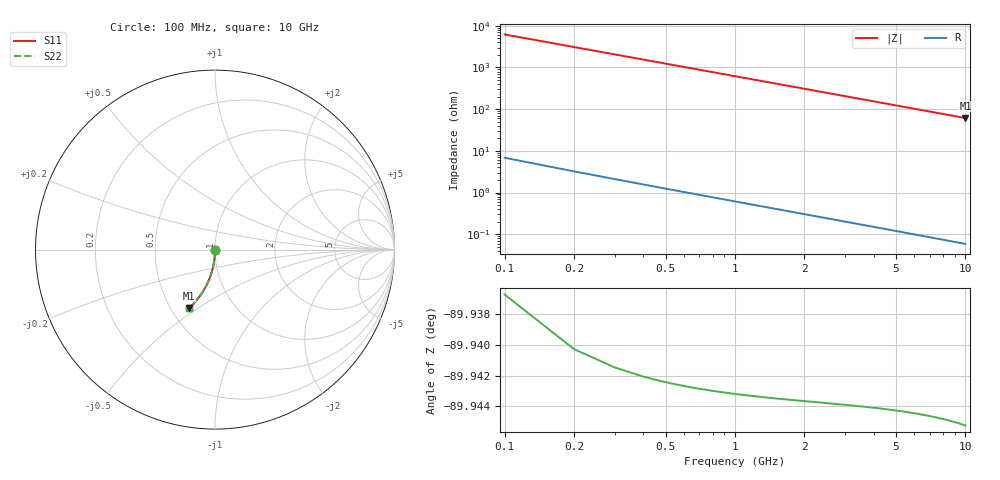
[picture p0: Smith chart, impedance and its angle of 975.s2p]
# Hz S RI R 50.00
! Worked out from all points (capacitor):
!   100 points, 100 MHz to 10 GHz, reference 50 ohm
!   read as one part in shunt: C = 257 fF near 100 MHz
!   lowest |Z| = 61.4 ohm at 10 GHz (marker M1)
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1e8  5e-05 -0.00378  0.9999 -0.0043  0.9999 -0.0043  5e-05 -0.00378
2e8  -2.2e-06 -0.00757  0.9999 -0.00859  0.9999 -0.00859  -2.2e-06 -0.00757
3e8  -8.71e-05 -0.0113  0.9998 -0.0129  0.9998 -0.0129  -8.71e-05 -0.0113
4e8  -0.000204 -0.0151  0.9996 -0.0172  0.9996 -0.0172  -0.000204 -0.0151
5e8  -0.000354 -0.0189  0.9995 -0.0215  0.9995 -0.0215  -0.000354 -0.0189
6e8  -0.000537 -0.0227  0.9993 -0.0258  0.9993 -0.0258  -0.000537 -0.0227
7e8  -0.000752 -0.0265  0.9991 -0.0301  0.9991 -0.0301  -0.000752 -0.0265
8e8  -0.000999 -0.0302  0.9988 -0.0343  0.9988 -0.0343  -0.000999 -0.0302
9e8  -0.00128 -0.034  0.9986 -0.0386  0.9986 -0.0386  -0.00128 -0.034
1.1e9  -0.00194 -0.0416  0.9979 -0.0472  0.9979 -0.0472  -0.00194 -0.0416
1.4e9  -0.00316 -0.0528  0.9967 -0.06  0.9967 -0.06  -0.00316 -0.0528
1.8e9  -0.00525 -0.0678  0.9946 -0.0771  0.9946 -0.0771  -0.00525 -0.0678
2.1e9  -0.00716 -0.079  0.9926 -0.0898  0.9926 -0.0898  -0.00716 -0.079
2.5e9  -0.0101 -0.0938  0.9896 -0.1067  0.9896 -0.1067  -0.0101 -0.0938
2.9e9  -0.0136 -0.1085  0.9861 -0.1234  0.9861 -0.1234  -0.0136 -0.1085
3.4e9  -0.0187 -0.1266  0.981 -0.1441  0.981 -0.1441  -0.0187 -0.1266
4.2e9  -0.0283 -0.155  0.9713 -0.1767  0.9713 -0.1767  -0.0283 -0.155
5.1e9  -0.0413 -0.1859  0.9582 -0.2123  0.9582 -0.2123  -0.0413 -0.1859
5.9e9  -0.0547 -0.2121  0.9447 -0.2428  0.9447 -0.2428  -0.0547 -0.2121
6.7e9  -0.0696 -0.2372  0.9296 -0.272  0.9296 -0.272  -0.0696 -0.2372
8.4e9  -0.1058 -0.2859  0.893 -0.3298  0.893 -0.3298  -0.1058 -0.2859
1e10  -0.1444 -0.3255  0.854 -0.3781  0.854 -0.3781  -0.1444 -0.3255
